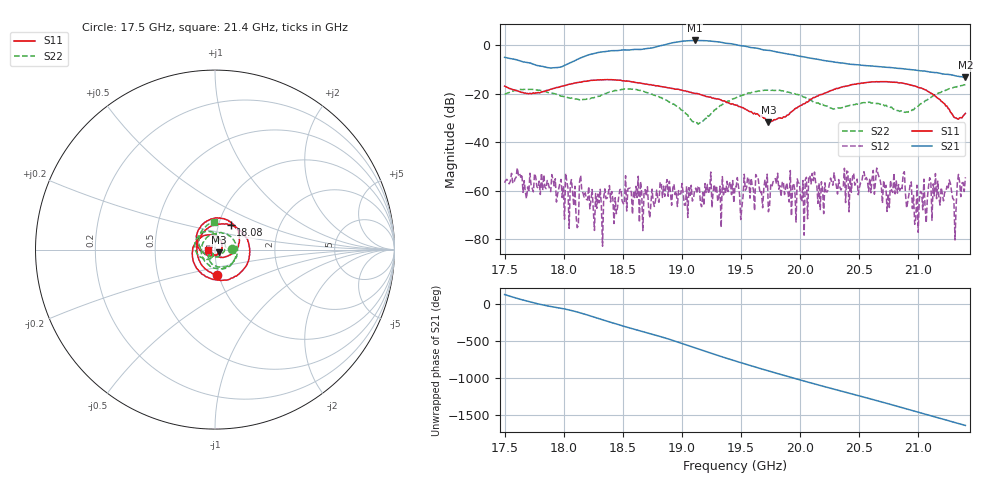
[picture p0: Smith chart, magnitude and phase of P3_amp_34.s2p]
!Created with skrf (http://scikit-rf.org).
# GHz S RI R 50.0
!freq ReS11 ImS11 ReS21 ImS21 ReS12 ImS12 ReS22 ImS22
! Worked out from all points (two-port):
!   401 points, 17.5 GHz to 21.4 GHz, reference 50 ohm
!   highest |S21| = 2.06 dB at 19.11 GHz (marker M1); lowest = -13.2 dB at 21.4 GHz (marker M2)
!   |S21| within 3 dB of the highest: 18.76 GHz to 19.59 GHz (837.1 MHz wide, 4.37 % of centre)
!   lowest |S11| = -31.7 dB at 19.73 GHz (marker M3), VSWR 1.05, Z = 52.2 - j1.51 ohm
!   |S11| at or under -10 dB: start of sweep to end of sweep
!   |S22| runs from -32.6 to -16.2 dB; largest |S21 - S12| = 1.3
!   S11 on the Smith chart (normalised r, x): 17.5 GHz: 0.98, -0.29; 18.08 GHz: 1.15, +0.32; 21.4 GHz: 0.92, -0.00
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17.5  0.00857 -0.1441  -0.3614 0.4381  -0.00111 0.000937  0.0974 0.000622
17.734  -0.1016 0.00772  0.389 0.15  -0.000744 0.000803  0.0831 -0.0922
18.07525  0.088 0.1362  -0.00729 -0.4592  0.000937 -3.31e-05  -0.0755 -0.031
18.1045  0.111 0.1268  -0.1121 -0.4869  0.000207 -0.000224  -0.0769 -0.0141
18.15325  0.1409 0.1051  -0.3275 -0.4603  1.21e-05 -0.00102  -0.0733 0.0181
18.2995  0.1926 -0.00368  -0.6855 0.2212  0.000161 0.000533  -0.00401 0.0888
18.46525  0.1344 -0.1354  0.1288 0.7768  0.000647 -0.000313  0.1109 0.0415
18.631  0.00254 -0.1685  0.8233 0.032  2.44e-05 -0.00197  0.0855 -0.083
18.8065  -0.1062 -0.0975  0.2488 -0.939  -0.000414 -0.000394  -0.00927 -0.0864
18.99175  -0.1181 0.0215  -1.189 -0.2227  0.000197 0.000835  -0.034 -0.0325
19.10875  -0.0745 0.0696  -0.7672 1.01  0.000106 0.00101  -0.0175 -0.018
19.1965  -0.0385 0.0818  0.2161 1.233  -0.000178 0.00138  -0.00833 -0.0291
19.30375  0.00327 0.0781  1.096 0.472  0.000568 0.00018  -0.0195 -0.0467
19.45  0.0344 0.0482  0.6508 -0.8222  0.000634 0.00106  -0.0639 -0.0496
19.55725  0.0397 0.0219  -0.2297 -0.9088  0.00179 0.000638  -0.1003 -0.0229
19.73275  0.0215 -0.0145  -0.7869 0.088  0.00035 -9.54e-05  -0.1049 0.0575
19.8985  -0.0187 -0.0312  -0.0779 0.6594  0.000287 -0.000871  -0.0402 0.0999
20.10325  -0.0792 -0.00552  0.5354 0.0457  -0.00205 -0.000961  0.0154 0.0685
20.49325  -0.0551 0.1534  -0.3807 -0.1173  -0.00048 0.000665  0.0243 0.0551
20.7565  0.0849 0.1557  0.047 0.3479  -0.000317 0.000312  0.0541 -0.00315
21.3025  0.000444 -0.0329  -0.2319 -0.0634  -0.000465 -0.000438  -0.0608 0.1224
21.4  -0.0393 -0.00109  -0.1935 0.1033  -0.00172 -0.00074  -0.00667 0.1549
